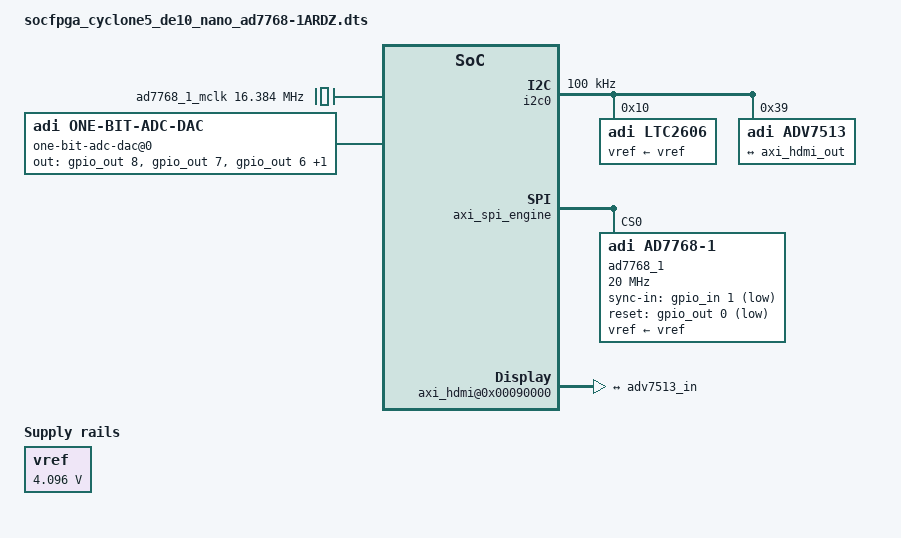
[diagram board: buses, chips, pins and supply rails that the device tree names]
// SPDX-License-Identifier: GPL-2.0
/*
 * Analog Devices AD7768-1
 * https://www.analog.com/en/products/ad7768-1.html
 * https://wiki.analog.com/resources/tools-software/linux-build/generic/socfpga
 *
 * hdl_project: <ad77681evb/de10>
 * board_revision: <A>
 *
 * Copyright (C) 2020 Analog Devices Inc.
 */
/dts-v1/;
#include "socfpga_cyclone5_de10_nano.dtsi"
#include <dt-bindings/interrupt-controller/irq.h>
#include <dt-bindings/gpio/gpio.h>


/ {
	vref: regulator-vref {
		compatible = "regulator-fixed";
		regulator-name = "fixed-supply";
		regulator-min-microvolt = <4096000>;
		regulator-max-microvolt = <4096000>;
		regulator-always-on;
	};

	clocks {
		sys_clk: sys_clk {
			#clock-cells = <0x0>;
			compatible = "fixed-clock";
			clock-frequency = <50000000>;
			clock-output-names = "sys_clk";
		};

		dma_clk: dma_clk {
			#clock-cells = <0x0>;
			compatible = "fixed-clock";
			clock-frequency = <40000000>;
			clock-output-names = "dma_clk";
		};

		spi_clk: spi_clk {
			#clock-cells = <0x0>;
			compatible = "fixed-clock";
			clock-frequency = <40000000>;
			clock-output-names = "spi_clk";
		};

		hdmi_dma_clk: hdmi_dma_clk {
			#clock-cells = <0x0>;
			compatible = "fixed-clock";
			clock-frequency = <50000000>;
			clock-output-names = "hdmi_dma_clk";
		};

		ad7768_1_mclk: clock@0 {
			#clock-cells = <0>;
			compatible = "fixed-clock";
			clock-frequency = <16384000>;
		};

		pixel_clk_pll: pixel_clk_pll {
			#clock-cells = <0x0>;
			compatible = "fixed-clock";
			clock-frequency = <74250000>;
			clock-output-names = "pixel_clk_pll";
		};
	};

	one-bit-adc-dac@0 {
		compatible = "adi,one-bit-adc-dac";
		out-gpios = <&gpio_out 8 GPIO_ACTIVE_HIGH>,
			    <&gpio_out 7 GPIO_ACTIVE_HIGH>,
			    <&gpio_out 6 GPIO_ACTIVE_HIGH>,
			    <&gpio_out 4 GPIO_ACTIVE_HIGH>;
			    /*<&ad7768_1 0 GPIO_ACTIVE_HIGH>,
			    <&ad7768_1 1 GPIO_ACTIVE_HIGH>,
			    <&ad7768_1 2 GPIO_ACTIVE_HIGH>,
			    <&ad7768_1 3 GPIO_ACTIVE_HIGH>;*/
		out-gpio-names = "cn0540_blue_led",
				 "cn0540_red_led",
				 "cn0540_sw_ff_gpio",
				 "cn0540_shutdown_gpio";/*
				 "cn0540_ad7768-1-gpio0",
				 "cn0540_ad7768-1-gpio1",
				 "cn0540_FDA_DIS",
				 "cn0540_FDA_MODE";*/
	};
};

&i2c0 {
	clock-frequency = <100000>;
	ltc2606: ltc2606@0x10 {
		compatible = "adi,ltc2606";
		reg = <0x10>;
		vref-supply = <&vref>;
	};
	
	adv7513: adv7513@0x39 {
		compatible = "adi,adv7513";
		reg = <0x39>, <0x3f>;
		reg-names = "primary", "edid";

		adi,input-depth = <8>;
		adi,input-colorspace = "rgb";
		adi,input-clock = "1x";
		adi,clock-delay = <0>;

		#sound-dai-cells = <0>;

		ports {
			#address-cells = <1>;
			#size-cells = <0>;

			port@0 {
				reg = <0>;
				adv7513_in: endpoint {
					remote-endpoint = <&axi_hdmi_out>;
				};
			};

			port@1 {
				reg = <1>;
			};
		};
	};
};

&fpga_axi {
	gpio_in: gpio_in@0x00010100 {
		compatible = "altr,pio-18.1", "altr,pio-1.0";
		reg = <0x00010100 0x00000010>;
		altr,gpio-bank-width = <32>;
		altr,interrupt-type = <4>;
		altr,interrupt_type = <4>;
		level_trigger = <1>;
		resetvalue = <0>;
		#gpio-cells = <2>;
		gpio-controller;
	};

	gpio_out: gpio_out@0x00109000 {
		compatible = "altr,pio-1.0";
		reg = <0x00109000 0x00000010>;
		altr,gpio-bank-width = <32>;
		resetvalue = <0>;
		#gpio-cells = <2>;
		gpio-controller;

		/* cn0540_blue_led{
			gpios = <8 GPIO_ACTIVE_HIGH>;
			output-low;
			line-name = "cn0540_blue_led";
		};
		cn0540_red_led{
			gpios = <7 GPIO_ACTIVE_HIGH>;
			output-low;
			line-name = "cn0540_red_led";
		};
		cn0540_sw_ff_gpio{
			gpios = <6 GPIO_ACTIVE_HIGH>;
			output-high;
			line-name = "cn0540_sw_ff_gpio";
		};
		cn0540_shutdown_gpio{
			gpio-hog;
			gpios = <4 GPIO_ACTIVE_HIGH>;
			output-high;
			line-name = "cn0540_shutdown_gpio";
		}; */
	};

	axi_dmac_0: rx-dma@0x00020000 {
		compatible = "adi,axi-dmac-1.00.a";
		reg = <0x00020000 0x00000800>;
		interrupt-parent = <&intc>;
		interrupts = <0 43 IRQ_TYPE_LEVEL_HIGH>;
		#dma-cells = <1>;
		clocks = <&dma_clk>;

		adi,channels {
			#size-cells = <0>;
			#address-cells = <1>;

			dma-channel@0 {
				reg = <0>;
				adi,source-bus-width = <32>;
				adi,source-bus-type = <1>;
				adi,destination-bus-width = <64>;
				adi,destination-bus-type = <0>;
			};
		};
	};

	axi_spi_engine: spi_engine@0x00028000 {
		compatible = "adi,axi-spi-engine-1.00.a";
		reg = <0x00028000 0x00008000>;
		interrupt-parent = <&intc>;
		interrupts = <0 44 IRQ_TYPE_LEVEL_HIGH>;
		clocks = <&sys_clk &spi_clk>;
		clock-names = "s_axi_aclk", "spi_clk";
		num-cs = <1>;

		#address-cells = <0x1>;
		#size-cells = <0x0>;

		ad7768_1: adc@0x0 {
			compatible = "adi,ad7768-1";
			reg = <0>;
			spi-max-frequency = <20000000>;
			spi-cpol;
			spi-cpha;
			vref-supply = <&vref>;
			adi,sync-in-gpios = <&gpio_in 1 GPIO_ACTIVE_LOW>;
			reset-gpios = <&gpio_out 0 GPIO_ACTIVE_LOW>;
			clocks = <&ad7768_1_mclk>;
			clock-names = "mclk";
			dmas = <&axi_dmac_0 0>;
			dma-names = "rx";
			#io-channel-cells = <1>;
			gpio-controller;
			#gpio-cells = <1>;
		};
	};

	hdmi_tx_dma: dma@0x00080000 {
		compatible = "adi,axi-dmac-1.00.a";
		reg = <0x00080000 0x10000>;
		interrupt-parent = <&intc>;
		interrupts = <0 47 IRQ_TYPE_LEVEL_HIGH>;
		#dma-cells = <1>;
		clocks = <&hdmi_dma_clk>;

		adi,channels {
			#size-cells = <0>;
			#address-cells = <1>;

			dma-channel@0 {
				reg = <0>;
				adi,source-bus-width = <64>;
				adi,source-bus-type = <0>;
				adi,destination-bus-width = <64>;
				adi,destination-bus-type = <1>;
			};
		};
	};

	axi_hdmi@0x00090000 {
		compatible = "adi,axi-hdmi-tx-1.00.a";
		reg = <0x00090000 0x10000>;
		dmas = <&hdmi_tx_dma 0>;
		dma-names = "video";
		clocks = <&pixel_clk_pll>;
		adi,is-rgb;

		port {
			axi_hdmi_out: endpoint {
				remote-endpoint = <&adv7513_in>;
			};
		};
	};
};
